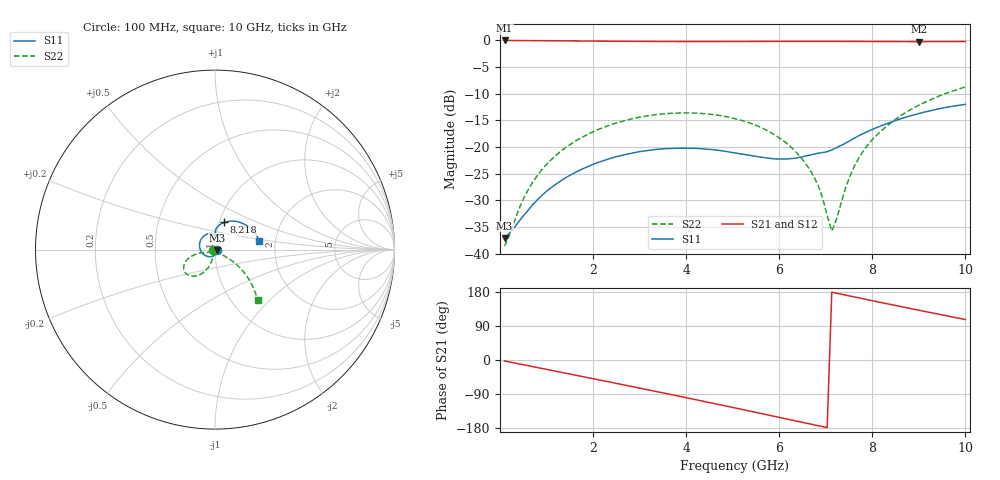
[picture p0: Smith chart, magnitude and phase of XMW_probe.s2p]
# Hz S MA R 50
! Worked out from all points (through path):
!   101 points, 100 MHz to 10 GHz, reference 50 ohm
!   highest |S21| = -0.01 dB at 100 MHz (marker M1); lowest = -0.2 dB at 9.01 GHz (marker M2)
!   group delay of S21, straight-line fit = 71 ps
!   lowest |S11| = -37.0 dB at 100 MHz (marker M3), VSWR 1.03, Z = 51.4 - j0.433 ohm
!   |S11| at or under -10 dB: start of sweep to end of sweep
!   |S22| runs from -38.6 to -8.7 dB; largest |S21 - S12| = 0
!   S11 on the Smith chart (normalised r, x): 100 MHz: 1.03, -0.01; 8.218 GHz: 1.06, +0.33; 10 GHz: 1.64, +0.17
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1e8  0.01406 -17.4  0.9984 -2.5  0.9984 -2.5  0.0118 -158.3
4.96e8  0.02253 -70.3  0.996 -12.3  0.996 -12.3  0.03222 -109.6
7.93e8  0.03175 -94.8  0.9942 -19.6  0.9942 -19.6  0.05339 -106.0
1.189e9  0.04454 -118.5  0.9916 -29.4  0.9916 -29.4  0.08284 -107.7
1.783e9  0.06275 -147.6  0.987 -44.0  0.987 -44.0  0.1247 -113.7
2.674e9  0.08486 174.8  0.9806 -66.0  0.9806 -66.0  0.1767 -124.8
3.466e9  0.09615 144.8  0.9766 -85.9  0.9766 -85.9  0.2041 -135.2
4.258e9  0.09714 118.4  0.975 -106.0  0.975 -106.0  0.2079 -145.7
5.05e9  0.08819 98.0  0.9763 -126.5  0.9763 -126.5  0.1848 -155.8
5.644e9  0.08028 90.2  0.9776 -142.1  0.9776 -142.1  0.1502 -162.6
6.139e9  0.07738 89.1  0.9785 -155.1  0.9785 -155.1  0.1107 -166.5
6.733e9  0.0857 89.0  0.9789 -170.7  0.9789 -170.7  0.05418 -163.4
6.931e9  0.0889 88.3  0.9787 -175.9  0.9787 -175.9  0.03355 -155.2
7.129e9  0.09413 89.7  0.9786 179.0  0.9786 179.0  0.0164 -106.2
7.228e9  0.09898 89.3  0.9785 176.4  0.9785 176.4  0.02087 -68.4
7.426e9  0.1088 88.3  0.9778 171.3  0.9778 171.3  0.0415 -39.4
7.624e9  0.1221 85.5  0.9773 166.1  0.9773 166.1  0.06744 -33.8
7.921e9  0.1413 79.0  0.9765 158.5  0.9765 158.5  0.1073 -33.5
8.218e9  0.1602 71.1  0.9751 151.0  0.9751 151.0  0.1452 -34.6
8.416e9  0.1724 65.5  0.9748 145.9  0.9748 145.9  0.1713 -36.0
9.01e9  0.2068 46.9  0.9729 131.1  0.9729 131.1  0.2486 -41.0
1e10  0.2515 11.4  0.9767 106.8  0.9767 106.8  0.3665 -49.7
